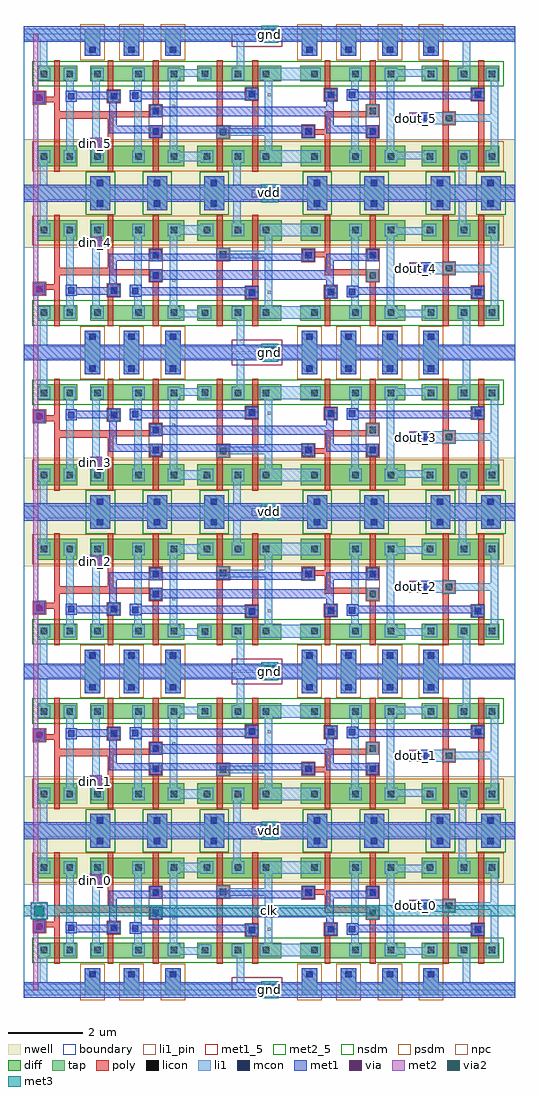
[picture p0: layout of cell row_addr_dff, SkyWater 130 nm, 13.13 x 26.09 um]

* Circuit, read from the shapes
.subckt row_addr_dff clk din_0 din_1 din_2 din_3 din_4 din_5 dout_0 dout_1 dout_2 dout_3 dout_4 dout_5 gnd vdd
XM1 dff_0/clkb clk gnd gnd sky130_fd_pr__nfet_01v8 w=0.42 l=0.15
XM2 dff_1/clkb clk gnd gnd sky130_fd_pr__nfet_01v8 w=0.42 l=0.15
XM3 dff_2/clkb clk gnd gnd sky130_fd_pr__nfet_01v8 w=0.42 l=0.15
XM4 dff_3/clkb clk gnd gnd sky130_fd_pr__nfet_01v8 w=0.42 l=0.15
XM5 dff_4/clkb clk gnd gnd sky130_fd_pr__nfet_01v8 w=0.42 l=0.15
XM6 dff_5/clkb clk gnd gnd sky130_fd_pr__nfet_01v8 w=0.42 l=0.15
XM7 dff_0/net1 dff_0/clkb din_0 gnd sky130_fd_pr__nfet_01v8 w=0.42 l=0.15
XM8 dff_1/net1 dff_1/clkb din_1 gnd sky130_fd_pr__nfet_01v8 w=0.42 l=0.15
XM9 dff_2/net1 dff_2/clkb din_2 gnd sky130_fd_pr__nfet_01v8 w=0.42 l=0.15
XM10 dff_3/net1 dff_3/clkb din_3 gnd sky130_fd_pr__nfet_01v8 w=0.42 l=0.15
XM11 dff_4/net1 dff_4/clkb din_4 gnd sky130_fd_pr__nfet_01v8 w=0.42 l=0.15
XM12 dff_5/net1 dff_5/clkb din_5 gnd sky130_fd_pr__nfet_01v8 w=0.42 l=0.15
XM13 dff_0/net2 clk dff_0/net1 gnd sky130_fd_pr__nfet_01v8 w=0.42 l=0.15
XM14 dff_1/net2 clk dff_1/net1 gnd sky130_fd_pr__nfet_01v8 w=0.42 l=0.15
XM15 dff_2/net2 clk dff_2/net1 gnd sky130_fd_pr__nfet_01v8 w=0.42 l=0.15
XM16 dff_3/net2 clk dff_3/net1 gnd sky130_fd_pr__nfet_01v8 w=0.42 l=0.15
XM17 dff_4/net2 clk dff_4/net1 gnd sky130_fd_pr__nfet_01v8 w=0.42 l=0.15
XM18 dff_5/net2 clk dff_5/net1 gnd sky130_fd_pr__nfet_01v8 w=0.42 l=0.15
XM19 gnd dff_0/net3 dff_0/net2 gnd sky130_fd_pr__nfet_01v8 w=0.42 l=0.15
XM20 gnd dff_1/net3 dff_1/net2 gnd sky130_fd_pr__nfet_01v8 w=0.42 l=0.15
XM21 gnd dff_2/net3 dff_2/net2 gnd sky130_fd_pr__nfet_01v8 w=0.42 l=0.15
XM22 gnd dff_3/net3 dff_3/net2 gnd sky130_fd_pr__nfet_01v8 w=0.42 l=0.15
XM23 gnd dff_4/net3 dff_4/net2 gnd sky130_fd_pr__nfet_01v8 w=0.42 l=0.15
XM24 gnd dff_5/net3 dff_5/net2 gnd sky130_fd_pr__nfet_01v8 w=0.42 l=0.15
XM25 dff_0/net3 dff_0/net1 gnd gnd sky130_fd_pr__nfet_01v8 w=0.42 l=0.15
XM26 dff_1/net3 dff_1/net1 gnd gnd sky130_fd_pr__nfet_01v8 w=0.42 l=0.15
XM27 dff_2/net3 dff_2/net1 gnd gnd sky130_fd_pr__nfet_01v8 w=0.42 l=0.15
XM28 dff_3/net3 dff_3/net1 gnd gnd sky130_fd_pr__nfet_01v8 w=0.42 l=0.15
XM29 dff_4/net3 dff_4/net1 gnd gnd sky130_fd_pr__nfet_01v8 w=0.42 l=0.15
XM30 dff_5/net3 dff_5/net1 gnd gnd sky130_fd_pr__nfet_01v8 w=0.42 l=0.15
XM31 dff_0/net4 clk dff_0/net3 gnd sky130_fd_pr__nfet_01v8 w=0.42 l=0.15
XM32 dff_1/net4 clk dff_1/net3 gnd sky130_fd_pr__nfet_01v8 w=0.42 l=0.15
XM33 dff_2/net4 clk dff_2/net3 gnd sky130_fd_pr__nfet_01v8 w=0.42 l=0.15
XM34 dff_3/net4 clk dff_3/net3 gnd sky130_fd_pr__nfet_01v8 w=0.42 l=0.15
XM35 dff_4/net4 clk dff_4/net3 gnd sky130_fd_pr__nfet_01v8 w=0.42 l=0.15
XM36 dff_5/net4 clk dff_5/net3 gnd sky130_fd_pr__nfet_01v8 w=0.42 l=0.15
XM37 dff_0/net5 dff_0/clkb dff_0/net4 gnd sky130_fd_pr__nfet_01v8 w=0.42 l=0.15
XM38 dff_1/net5 dff_1/clkb dff_1/net4 gnd sky130_fd_pr__nfet_01v8 w=0.42 l=0.15
XM39 dff_2/net5 dff_2/clkb dff_2/net4 gnd sky130_fd_pr__nfet_01v8 w=0.42 l=0.15
XM40 dff_3/net5 dff_3/clkb dff_3/net4 gnd sky130_fd_pr__nfet_01v8 w=0.42 l=0.15
XM41 dff_4/net5 dff_4/clkb dff_4/net4 gnd sky130_fd_pr__nfet_01v8 w=0.42 l=0.15
XM42 dff_5/net5 dff_5/clkb dff_5/net4 gnd sky130_fd_pr__nfet_01v8 w=0.42 l=0.15
XM43 gnd dout_0 dff_0/net5 gnd sky130_fd_pr__nfet_01v8 w=0.42 l=0.15
XM44 gnd dout_1 dff_1/net5 gnd sky130_fd_pr__nfet_01v8 w=0.42 l=0.15
XM45 gnd dout_2 dff_2/net5 gnd sky130_fd_pr__nfet_01v8 w=0.42 l=0.15
XM46 gnd dout_3 dff_3/net5 gnd sky130_fd_pr__nfet_01v8 w=0.42 l=0.15
XM47 gnd dout_4 dff_4/net5 gnd sky130_fd_pr__nfet_01v8 w=0.42 l=0.15
XM48 gnd dout_5 dff_5/net5 gnd sky130_fd_pr__nfet_01v8 w=0.42 l=0.15
XM49 dout_0 dff_0/net4 gnd gnd sky130_fd_pr__nfet_01v8 w=0.42 l=0.15
XM50 dout_1 dff_1/net4 gnd gnd sky130_fd_pr__nfet_01v8 w=0.42 l=0.15
XM51 dout_2 dff_2/net4 gnd gnd sky130_fd_pr__nfet_01v8 w=0.42 l=0.15
XM52 dout_3 dff_3/net4 gnd gnd sky130_fd_pr__nfet_01v8 w=0.42 l=0.15
XM53 dout_4 dff_4/net4 gnd gnd sky130_fd_pr__nfet_01v8 w=0.42 l=0.15
XM54 dout_5 dff_5/net4 gnd gnd sky130_fd_pr__nfet_01v8 w=0.42 l=0.15
XM55 dff_0/clkb clk vdd vdd sky130_fd_pr__pfet_01v8 w=0.55 l=0.15
XM56 dff_1/clkb clk vdd vdd sky130_fd_pr__pfet_01v8 w=0.55 l=0.15
XM57 dff_2/clkb clk vdd vdd sky130_fd_pr__pfet_01v8 w=0.55 l=0.15
XM58 dff_3/clkb clk vdd vdd sky130_fd_pr__pfet_01v8 w=0.55 l=0.15
XM59 dff_4/clkb clk vdd vdd sky130_fd_pr__pfet_01v8 w=0.55 l=0.15
XM60 dff_5/clkb clk vdd vdd sky130_fd_pr__pfet_01v8 w=0.55 l=0.15
XM61 dff_0/net1 clk din_0 vdd sky130_fd_pr__pfet_01v8 w=0.55 l=0.15
XM62 dff_1/net1 clk din_1 vdd sky130_fd_pr__pfet_01v8 w=0.55 l=0.15
XM63 dff_2/net1 clk din_2 vdd sky130_fd_pr__pfet_01v8 w=0.55 l=0.15
XM64 dff_3/net1 clk din_3 vdd sky130_fd_pr__pfet_01v8 w=0.55 l=0.15
XM65 dff_4/net1 clk din_4 vdd sky130_fd_pr__pfet_01v8 w=0.55 l=0.15
XM66 dff_5/net1 clk din_5 vdd sky130_fd_pr__pfet_01v8 w=0.55 l=0.15
XM67 dff_0/net2 dff_0/clkb dff_0/net1 vdd sky130_fd_pr__pfet_01v8 w=0.55 l=0.15
XM68 dff_1/net2 dff_1/clkb dff_1/net1 vdd sky130_fd_pr__pfet_01v8 w=0.55 l=0.15
XM69 dff_2/net2 dff_2/clkb dff_2/net1 vdd sky130_fd_pr__pfet_01v8 w=0.55 l=0.15
XM70 dff_3/net2 dff_3/clkb dff_3/net1 vdd sky130_fd_pr__pfet_01v8 w=0.55 l=0.15
XM71 dff_4/net2 dff_4/clkb dff_4/net1 vdd sky130_fd_pr__pfet_01v8 w=0.55 l=0.15
XM72 dff_5/net2 dff_5/clkb dff_5/net1 vdd sky130_fd_pr__pfet_01v8 w=0.55 l=0.15
XM73 vdd dff_0/net3 dff_0/net2 vdd sky130_fd_pr__pfet_01v8 w=0.55 l=0.15
XM74 vdd dff_1/net3 dff_1/net2 vdd sky130_fd_pr__pfet_01v8 w=0.55 l=0.15
XM75 vdd dff_2/net3 dff_2/net2 vdd sky130_fd_pr__pfet_01v8 w=0.55 l=0.15
XM76 vdd dff_3/net3 dff_3/net2 vdd sky130_fd_pr__pfet_01v8 w=0.55 l=0.15
XM77 vdd dff_4/net3 dff_4/net2 vdd sky130_fd_pr__pfet_01v8 w=0.55 l=0.15
XM78 vdd dff_5/net3 dff_5/net2 vdd sky130_fd_pr__pfet_01v8 w=0.55 l=0.15
XM79 dff_0/net3 dff_0/net1 vdd vdd sky130_fd_pr__pfet_01v8 w=0.55 l=0.15
XM80 dff_1/net3 dff_1/net1 vdd vdd sky130_fd_pr__pfet_01v8 w=0.55 l=0.15
XM81 dff_2/net3 dff_2/net1 vdd vdd sky130_fd_pr__pfet_01v8 w=0.55 l=0.15
XM82 dff_3/net3 dff_3/net1 vdd vdd sky130_fd_pr__pfet_01v8 w=0.55 l=0.15
XM83 dff_4/net3 dff_4/net1 vdd vdd sky130_fd_pr__pfet_01v8 w=0.55 l=0.15
XM84 dff_5/net3 dff_5/net1 vdd vdd sky130_fd_pr__pfet_01v8 w=0.55 l=0.15
XM85 dff_0/net4 dff_0/clkb dff_0/net3 vdd sky130_fd_pr__pfet_01v8 w=0.55 l=0.15
XM86 dff_1/net4 dff_1/clkb dff_1/net3 vdd sky130_fd_pr__pfet_01v8 w=0.55 l=0.15
XM87 dff_2/net4 dff_2/clkb dff_2/net3 vdd sky130_fd_pr__pfet_01v8 w=0.55 l=0.15
XM88 dff_3/net4 dff_3/clkb dff_3/net3 vdd sky130_fd_pr__pfet_01v8 w=0.55 l=0.15
XM89 dff_4/net4 dff_4/clkb dff_4/net3 vdd sky130_fd_pr__pfet_01v8 w=0.55 l=0.15
XM90 dff_5/net4 dff_5/clkb dff_5/net3 vdd sky130_fd_pr__pfet_01v8 w=0.55 l=0.15
XM91 dff_0/net5 clk dff_0/net4 vdd sky130_fd_pr__pfet_01v8 w=0.55 l=0.15
XM92 dff_1/net5 clk dff_1/net4 vdd sky130_fd_pr__pfet_01v8 w=0.55 l=0.15
XM93 dff_2/net5 clk dff_2/net4 vdd sky130_fd_pr__pfet_01v8 w=0.55 l=0.15
XM94 dff_3/net5 clk dff_3/net4 vdd sky130_fd_pr__pfet_01v8 w=0.55 l=0.15
XM95 dff_4/net5 clk dff_4/net4 vdd sky130_fd_pr__pfet_01v8 w=0.55 l=0.15
XM96 dff_5/net5 clk dff_5/net4 vdd sky130_fd_pr__pfet_01v8 w=0.55 l=0.15
XM97 vdd dout_0 dff_0/net5 vdd sky130_fd_pr__pfet_01v8 w=0.55 l=0.15
XM98 vdd dout_1 dff_1/net5 vdd sky130_fd_pr__pfet_01v8 w=0.55 l=0.15
XM99 vdd dout_2 dff_2/net5 vdd sky130_fd_pr__pfet_01v8 w=0.55 l=0.15
XM100 vdd dout_3 dff_3/net5 vdd sky130_fd_pr__pfet_01v8 w=0.55 l=0.15
XM101 vdd dout_4 dff_4/net5 vdd sky130_fd_pr__pfet_01v8 w=0.55 l=0.15
XM102 vdd dout_5 dff_5/net5 vdd sky130_fd_pr__pfet_01v8 w=0.55 l=0.15
XM103 dout_0 dff_0/net4 vdd vdd sky130_fd_pr__pfet_01v8 w=0.55 l=0.15
XM104 dout_1 dff_1/net4 vdd vdd sky130_fd_pr__pfet_01v8 w=0.55 l=0.15
XM105 dout_2 dff_2/net4 vdd vdd sky130_fd_pr__pfet_01v8 w=0.55 l=0.15
XM106 dout_3 dff_3/net4 vdd vdd sky130_fd_pr__pfet_01v8 w=0.55 l=0.15
XM107 dout_4 dff_4/net4 vdd vdd sky130_fd_pr__pfet_01v8 w=0.55 l=0.15
XM108 dout_5 dff_5/net4 vdd vdd sky130_fd_pr__pfet_01v8 w=0.55 l=0.15
.ends

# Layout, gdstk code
import gdstk
lib = gdstk.Library(unit=1e-6, precision=1e-09)
def R(c, l, rs):  # rectangles x0, y0, x1, y1
    for r in rs: c.add(gdstk.rectangle(r[:2], r[2:], *l))
def A(c, l, x, y, w, h, nx, ny, dx, dy):  # array of equal rectangles
    R(c, l, [(x+i*dx, y+j*dy, x+i*dx+w, y+j*dy+h) for i in range(nx) for j in range(ny)])
nwell = (64, 20)
diff = (65, 20)
tap = (65, 44)
poly = (66, 20)
licon = (66, 44)
li1_pin = (67, 16)
li1 = (67, 20)
mcon = (67, 44)
met1_5 = (68, 5)
met1 = (68, 20)
via = (68, 44)
met2_5 = (69, 5)
met2 = (69, 20)
via2 = (69, 44)
met3 = (70, 20)
nsdm = (93, 44)
psdm = (94, 20)
npc = (95, 20)
boundary = (235, 4)

dff = lib.new_cell('dff')
R(dff, nwell, [(0,2.81,13.13,4.61)])
R(dff, diff, [(0.35,0.85,1.42,1.27), (1.78,0.85,4.28,1.27), (4.63,0.85,6.88,1.27), (7.39,0.85,10.19,1.27), (10.64,0.85,12.7,1.27), (0.35,2.99,1.42,3.54), (1.78,2.99,4.28,3.54), (4.63,2.99,6.89,3.54), (7.4,2.99,10.19,3.54), (10.64,2.99,12.7,3.54)])
A(dff, tap, 1.78, 3.81, 0.53, 0.62, 3, 1, 1.52, 0)
R(dff, tap, [(1.63,-0.14,2.04,0.58), (2.67,-0.14,3.08,0.58), (3.78,-0.14,4.19,0.58), (7.43,-0.14,7.84,0.58), (8.47,-0.14,8.88,0.58), (9.58,-0.14,9.99,0.58), (10.68,-0.14,11.09,0.58), (7.58,3.81,8.11,4.43), (9.1,3.81,9.63,4.43), (10.87,3.81,11.4,4.43), (12.22,3.81,12.75,4.43)])
R(dff, poly, [(0.81,0.7,0.96,1.68), (2.24,0.7,2.39,1.5), (3.45,0.7,3.6,1.9), (5.16,0.7,5.31,2.46), (6.11,0.7,6.26,1.44), (8.04,0.7,8.19,1.46), (9.25,0.7,9.4,1.9), (11.2,0.7,11.35,2.09), (12.15,0.7,12.3,1.45), (5.93,1.44,6.26,1.77), (11.97,1.45,12.3,1.78), (8.04,1.46,8.37,1.79), (2.24,1.5,2.57,1.83), (0.25,1.54,0.58,1.68), (0.25,1.68,0.96,1.83), (6.11,1.77,6.26,3.69), (12.15,1.78,12.3,3.69), (0.25,1.83,0.58,1.87), (0.81,1.83,0.96,2.07), (3.36,1.9,3.69,2.07), (9.16,1.9,9.49,2.07), (0.81,2.07,3.69,2.23), (8.04,2.07,9.49,2.23), (11.2,2.09,11.53,2.42), (0.81,2.23,2.39,2.27), (8.04,2.23,8.19,2.55), (0.81,2.27,0.96,3.69), (2.24,2.27,2.39,3.69), (11.2,2.42,11.35,3.69), (3.36,2.44,3.69,2.77), (7.44,2.44,7.77,2.55), (9.16,2.44,9.49,2.77), (5.16,2.46,5.49,2.79), (7.44,2.55,8.19,2.7), (7.44,2.7,7.77,2.77), (8.04,2.7,8.19,3.69), (3.45,2.77,3.6,3.69), (9.25,2.77,9.4,3.69), (5.16,2.79,5.31,3.69)])
A(dff, licon, 1.95, 3.9, 0.17, 0.17, 3, 1, 1.52, 0)
R(dff, licon, [(1.75,0.34,1.92,0.51), (2.79,0.34,2.96,0.51), (3.9,0.34,4.07,0.51), (7.55,0.34,7.72,0.51), (8.59,0.34,8.76,0.51), (9.7,0.34,9.87,0.51), (10.8,0.34,10.97,0.51), (4.76,0.98,4.93,1.15), (0.45,0.99,0.62,1.16), (1.14,0.99,1.31,1.16), (1.88,0.99,2.05,1.16), (2.98,0.99,3.15,1.16), (3.93,0.99,4.1,1.16), (5.64,0.99,5.81,1.16), (6.39,0.99,6.56,1.16), (7.68,0.99,7.85,1.16), (8.78,0.99,8.95,1.16), (9.73,0.99,9.9,1.16), (10.8,0.99,10.97,1.16), (11.68,0.99,11.85,1.16), (12.43,0.99,12.6,1.16), (6.01,1.52,6.18,1.69), (12.05,1.53,12.22,1.7), (8.12,1.54,8.29,1.71), (2.32,1.58,2.49,1.75), (0.33,1.62,0.5,1.79), (3.44,1.98,3.61,2.15), (9.24,1.98,9.41,2.15), (11.28,2.17,11.45,2.34), (3.44,2.52,3.61,2.69), (7.52,2.52,7.69,2.69), (9.24,2.52,9.41,2.69), (5.24,2.54,5.41,2.71), (0.45,3.19,0.62,3.36), (1.14,3.19,1.31,3.36), (1.88,3.19,2.05,3.36), (2.98,3.19,3.15,3.36), (3.93,3.19,4.1,3.36), (4.81,3.19,4.98,3.36), (5.64,3.19,5.81,3.36), (6.39,3.19,6.56,3.36), (7.68,3.19,7.85,3.36), (8.78,3.19,8.95,3.36), (9.73,3.19,9.9,3.36), (10.77,3.19,10.94,3.36), (11.68,3.19,11.85,3.36), (12.43,3.19,12.6,3.36), (7.75,3.9,7.92,4.07), (9.27,3.9,9.44,4.07), (11.04,3.9,11.21,4.07), (12.39,3.9,12.56,4.07)])
R(dff, li1_pin, [(8.74,1.57,8.82,1.64), (6.52,1.58,6.6,1.66), (2.34,1.59,2.45,1.72), (2.92,1.6,3,1.67), (3.96,1.9,4.04,1.98), (9.75,3.2,9.85,3.32)])
A(dff, li1, 1.78, 3.81, 0.53, 0.29, 3, 1, 1.52, 0)
R(dff, li1, [(0,-0.14,13.13,0.17), (0.43,0.17,0.63,0.91), (1.63,0.17,2.04,0.58), (2.67,0.17,3.08,0.58), (3.78,0.17,4.19,0.58), (5.69,0.17,5.89,0.91), (7.43,0.17,7.84,0.58), (8.47,0.17,8.88,0.58), (9.58,0.17,9.99,0.58), (10.68,0.17,11.09,0.58), (11.73,0.17,11.93,0.91), (4.68,0.9,5.01,0.95), (6.31,0.9,7.93,1.24), (0.37,0.91,0.7,1.24), (1.06,0.91,1.39,1.24), (1.8,0.91,2.13,1.24), (2.9,0.91,3.23,1.24), (3.85,0.91,4.18,0.95), (5.56,0.91,5.89,1.24), (8.7,0.91,9.03,1.24), (9.65,0.91,9.98,0.95), (10.72,0.91,11.05,0.95), (11.6,0.91,11.93,1.24), (12.35,0.91,12.68,1.24), (3.85,0.95,5.01,1.15), (9.65,0.95,11.05,1.15), (3.85,1.15,4.18,1.24), (4.68,1.15,5.01,1.23), (9.65,1.15,9.98,1.24), (10.72,1.15,11.05,1.24), (1.13,1.24,1.33,1.52), (1.83,1.24,2.03,2.8), (2.95,1.24,3.15,1.5), (3.9,1.24,4.1,3.11), (6.44,1.24,6.64,2.52), (8.75,1.24,8.95,1.48), (9.7,1.24,9.9,3.11), (12.48,1.24,12.68,2.15), (5.93,1.44,6.26,1.77), (11.97,1.45,12.3,1.78), (8.04,1.46,8.37,1.79), (8.63,1.48,8.95,1.79), (2.24,1.5,2.57,1.83), (2.83,1.5,3.15,1.81), (1.12,1.52,1.41,1.81), (0.25,1.54,0.58,1.87), (8.75,1.79,8.95,3.11), (1.13,1.81,1.33,3.11), (2.95,1.81,3.15,3.11), (3.36,1.9,3.69,2.23), (9.16,1.9,9.49,2.23), (11.2,2.09,11.53,2.1), (10.62,2.1,11.53,2.15), (10.62,2.15,12.68,2.35), (10.62,2.35,11.53,2.42), (12.48,2.35,12.68,3.11), (3.36,2.44,3.69,2.77), (7.44,2.44,7.77,2.77), (9.16,2.44,9.49,2.77), (5.16,2.46,5.49,2.52), (5.16,2.52,6.64,2.72), (5.16,2.72,5.49,2.79), (6.44,2.72,6.64,3.11), (1.75,2.8,2.03,3.08), (1.8,3.08,2.03,3.11), (0.37,3.11,0.7,3.44), (1.06,3.11,1.39,3.44), (1.8,3.11,2.13,3.44), (2.9,3.11,3.23,3.44), (3.85,3.11,4.18,3.15), (4.73,3.11,5.06,3.15), (5.56,3.11,5.89,3.44), (6.31,3.11,7.93,3.44), (8.7,3.11,9.03,3.44), (9.65,3.11,9.98,3.15), (10.69,3.11,11.02,3.15), (11.6,3.11,11.93,3.44), (12.35,3.11,12.68,3.44), (3.85,3.15,5.06,3.4), (9.65,3.15,11.02,3.35), (9.65,3.35,9.98,3.44), (10.69,3.35,11.02,3.44), (3.85,3.4,4.18,3.44), (4.73,3.4,5.06,3.44), (0.43,3.44,0.63,4.1), (5.59,3.44,5.79,4.1), (11.63,3.44,11.83,4.1), (7.58,3.81,8.11,4.1), (9.1,3.81,9.63,4.1), (10.87,3.81,11.4,4.1), (12.22,3.81,12.75,4.1), (0,4.1,13.13,4.43)])
A(dff, mcon, 1.95, 3.9, 0.17, 0.17, 3, 1, 1.52, 0)
R(dff, mcon, [(1.75,0.34,1.92,0.51), (2.79,0.34,2.96,0.51), (3.9,0.34,4.07,0.51), (7.55,0.34,7.72,0.51), (8.59,0.34,8.76,0.51), (9.7,0.34,9.87,0.51), (10.8,0.34,10.97,0.51), (6.01,1.52,6.18,1.69), (12.05,1.53,12.22,1.7), (8.12,1.54,8.29,1.71), (8.69,1.54,8.86,1.71), (2.89,1.56,3.06,1.73), (1.18,1.58,1.35,1.75), (2.32,1.58,2.49,1.75), (0.33,1.61,0.5,1.78), (3.44,1.98,3.61,2.15), (10.69,2.17,10.86,2.34), (3.44,2.52,3.61,2.69), (7.52,2.52,7.69,2.69), (9.24,2.52,9.41,2.69), (1.8,2.85,1.97,3.02), (7.75,3.9,7.92,4.07), (9.27,3.9,9.44,4.07), (11.04,3.9,11.21,4.07), (12.39,3.9,12.56,4.07)])
R(dff, met1_5, [(5.56,0.01,6.91,0.34), (6.09,4.16,6.48,4.36)])
A(dff, met1, 1.78, 3.81, 0.53, 0.23, 3, 1, 1.52, 0)
R(dff, met1, [(0,-0.2,13.13,0.21), (0,-0.2,13.13,0.21), (1.63,0.21,2.04,0.58), (2.67,0.21,3.08,0.58), (3.78,0.21,4.19,0.58), (7.43,0.21,7.84,0.58), (8.47,0.21,8.88,0.58), (9.58,0.21,9.99,0.58), (10.68,0.21,11.09,0.58), (5.93,1.44,6.26,1.54), (11.96,1.45,12.3,1.55), (8.04,1.46,8.37,1.79), (8.63,1.48,8.93,1.55), (2.24,1.5,2.57,1.55), (2.83,1.5,3.13,1.54), (1.12,1.52,1.41,1.55), (0.25,1.54,0.56,1.86), (2.83,1.54,6.26,1.75), (1.12,1.55,2.57,1.75), (8.63,1.55,12.3,1.75), (1.12,1.75,1.41,1.81), (2.24,1.75,2.57,1.83), (2.83,1.75,3.13,1.81), (5.93,1.75,6.26,1.77), (8.63,1.75,8.93,1.79), (11.96,1.75,12.3,1.78), (8.08,1.79,8.28,1.95), (2.28,1.83,2.48,2.45), (3.36,1.9,3.69,1.95), (3.36,1.95,8.28,2.2), (10.3,2.1,10.93,2.42), (3.36,2.2,3.69,2.23), (8.08,2.2,8.28,2.45), (3.36,2.44,3.69,2.45), (7.44,2.44,7.77,2.45), (9.16,2.44,9.49,2.45), (2.28,2.45,7.77,2.65), (8.08,2.45,9.49,2.65), (3.36,2.65,3.69,2.77), (7.44,2.65,7.77,2.77), (9.16,2.65,9.49,2.77), (1.74,2.78,2.08,3.1), (7.58,3.81,8.11,4.04), (9.1,3.81,9.63,4.04), (10.87,3.81,11.4,4.04), (12.22,3.81,12.75,4.04), (0,4.04,13.13,4.49), (0,4.04,13.13,4.49)])
R(dff, via, [(0.325,1.625,0.475,1.775), (10.385,2.185,10.535,2.335), (1.835,2.865,1.985,3.015)])
R(dff, met2_5, [(0.27,1.57,0.53,1.83), (10.33,2.13,10.59,2.39), (1.78,2.81,2.04,3.07)])
R(dff, met2, [(0.25,1.54,0.56,1.86), (0.25,1.54,0.56,1.86), (10.3,2.1,10.62,2.42), (10.3,2.1,10.62,2.42), (1.74,2.78,2.08,3.1), (1.74,2.78,2.08,3.1)])
A(dff, nsdm, 1.655, 3.685, 0.78, 0.87, 3, 1, 1.52, 0)
R(dff, nsdm, [(0.225,0.725,12.825,1.395), (7.455,3.685,8.235,4.555), (8.975,3.685,9.755,4.555), (10.745,3.685,11.525,4.555), (12.095,3.685,12.875,4.555)])
R(dff, psdm, [(1.505,-0.265,2.165,0.705), (2.545,-0.265,3.205,0.705), (3.655,-0.265,4.315,0.705), (7.305,-0.265,7.965,0.705), (8.345,-0.265,9.005,0.705), (9.455,-0.265,10.115,0.705), (10.555,-0.265,11.215,0.705), (0.225,2.865,12.825,3.665)])
R(dff, npc, [(5.91,1.42,6.28,1.79), (11.95,1.43,12.32,1.8), (8.02,1.44,8.39,1.81), (2.22,1.48,2.59,1.85), (0.23,1.52,0.6,1.89), (3.34,1.88,3.71,2.79), (9.14,1.88,9.51,2.79), (11.18,2.07,11.55,2.44), (7.42,2.42,7.79,2.79), (5.14,2.44,5.51,2.81)])
R(dff, boundary, [(0,0,13.13,4.26)])
dff.add(gdstk.Label('net5', (9.8,3.26), layer=67, texttype=16))
dff.add(gdstk.Label('net2', (4,1.94), layer=67, texttype=16))
dff.add(gdstk.Label('net3', (6.56,1.62), layer=67, texttype=16))
dff.add(gdstk.Label('clkb', (2.395,1.655), layer=67, texttype=16))
dff.add(gdstk.Label('net1', (2.96,1.635), layer=67, texttype=16))
dff.add(gdstk.Label('net4', (8.78,1.605), layer=67, texttype=16))
dff.add(gdstk.Label('vdd', (6.285,4.26), layer=68, texttype=5))
dff.add(gdstk.Label('gnd', (6.235,0.175), layer=68, texttype=5))
dff.add(gdstk.Label('D', (1.91,2.94), layer=69, texttype=5))
dff.add(gdstk.Label('Q', (10.46,2.26), layer=69, texttype=5))
dff.add(gdstk.Label('clk', (0.4,1.7), layer=69, texttype=5))
dff.add(gdstk.Label('D', (1.91,2.94), layer=69, texttype=20))
dff.add(gdstk.Label('Q', (10.46,2.26), layer=69, texttype=20))
dff.add(gdstk.Label('clk', (0.405,1.7), layer=69, texttype=20))
dff.add(gdstk.Label('vdd', (6.565,4.265), layer=68, texttype=20))
dff.add(gdstk.Label('gnd', (6.565,0.005), layer=68, texttype=20))

contact_6 = lib.new_cell('contact_6')
R(contact_6, met1, [(0,0,0.46,0.46)])
R(contact_6, via, [(0.1,0.1,0.36,0.36)])
R(contact_6, met2, [(0,0,0.46,0.46)])
R(contact_6, boundary, [(0,0,0.46,0.46)])

contact_7 = lib.new_cell('contact_7')
R(contact_7, met2, [(0,0,0.46,0.46)])
R(contact_7, via2, [(0.09,0.09,0.37,0.37)])
R(contact_7, met3, [(0.01,0.01,0.45,0.45)])
R(contact_7, boundary, [(0,0,0.46,0.46)])

row_addr_dff = lib.new_cell('row_addr_dff')
R(row_addr_dff, met2, [(0.25,0,0.39,25.56), (10.3,2.1,10.62,2.42), (1.74,2.78,2.08,3.1), (1.74,5.42,2.08,5.74), (10.3,6.1,10.62,6.42), (10.3,10.62,10.62,10.94), (1.74,11.3,2.08,11.62), (1.74,13.94,2.08,14.26), (10.3,14.62,10.62,14.94), (10.3,19.14,10.62,19.46), (1.74,19.82,2.08,20.14), (1.74,22.46,2.08,22.78), (10.3,23.14,10.62,23.46)])
R(row_addr_dff, met3, [(6.34,-0.22,6.8,0.24), (0,1.97,13.13,2.27), (6.34,4.02,6.8,4.48), (6.34,4.04,6.8,4.5), (6.34,8.28,6.8,8.74), (6.34,8.3,6.8,8.76), (6.34,12.54,6.8,13), (6.34,12.56,6.8,13.02), (6.34,16.8,6.8,17.26), (6.34,16.82,6.8,17.28), (6.34,21.06,6.8,21.52), (6.34,21.08,6.8,21.54), (6.34,25.32,6.8,25.78)])
R(row_addr_dff, boundary, [(0,0,13.13,25.56)])
row_addr_dff.add(gdstk.Reference(dff, (0,0)))
row_addr_dff.add(gdstk.Reference(dff, (0,8.52), x_reflection=True))
row_addr_dff.add(gdstk.Reference(dff, (0,8.52)))
row_addr_dff.add(gdstk.Reference(dff, (0,17.04), x_reflection=True))
row_addr_dff.add(gdstk.Reference(dff, (0,17.04)))
row_addr_dff.add(gdstk.Reference(dff, (0,25.56), x_reflection=True))
row_addr_dff.add(gdstk.Reference(contact_6, (6.34,4.04)))
row_addr_dff.add(gdstk.Reference(contact_7, (6.34,4.04)))
row_addr_dff.add(gdstk.Reference(contact_6, (6.34,-0.22)))
row_addr_dff.add(gdstk.Reference(contact_7, (6.34,-0.22)))
row_addr_dff.add(gdstk.Reference(contact_6, (6.34,4.02)))
row_addr_dff.add(gdstk.Reference(contact_7, (6.34,4.02)))
row_addr_dff.add(gdstk.Reference(contact_6, (6.34,8.28)))
row_addr_dff.add(gdstk.Reference(contact_7, (6.34,8.28)))
row_addr_dff.add(gdstk.Reference(contact_6, (6.34,12.56)))
row_addr_dff.add(gdstk.Reference(contact_7, (6.34,12.56)))
row_addr_dff.add(gdstk.Reference(contact_6, (6.34,8.3)))
row_addr_dff.add(gdstk.Reference(contact_7, (6.34,8.3)))
row_addr_dff.add(gdstk.Reference(contact_6, (6.34,12.54)))
row_addr_dff.add(gdstk.Reference(contact_7, (6.34,12.54)))
row_addr_dff.add(gdstk.Reference(contact_6, (6.34,16.8)))
row_addr_dff.add(gdstk.Reference(contact_7, (6.34,16.8)))
row_addr_dff.add(gdstk.Reference(contact_6, (6.34,21.08)))
row_addr_dff.add(gdstk.Reference(contact_7, (6.34,21.08)))
row_addr_dff.add(gdstk.Reference(contact_6, (6.34,16.82)))
row_addr_dff.add(gdstk.Reference(contact_7, (6.34,16.82)))
row_addr_dff.add(gdstk.Reference(contact_6, (6.34,21.06)))
row_addr_dff.add(gdstk.Reference(contact_7, (6.34,21.06)))
row_addr_dff.add(gdstk.Reference(contact_6, (6.34,25.32)))
row_addr_dff.add(gdstk.Reference(contact_7, (6.34,25.32)))
row_addr_dff.add(gdstk.Reference(contact_7, (0.18,1.89)))
row_addr_dff.add(gdstk.Label('vdd', (6.57,21.31), layer=70, texttype=20))
row_addr_dff.add(gdstk.Label('vdd', (6.57,12.79), layer=70, texttype=20))
row_addr_dff.add(gdstk.Label('vdd', (6.57,4.27), layer=70, texttype=20))
row_addr_dff.add(gdstk.Label('vdd', (6.57,4.25), layer=70, texttype=20))
row_addr_dff.add(gdstk.Label('vdd', (6.57,21.29), layer=70, texttype=20))
row_addr_dff.add(gdstk.Label('vdd', (6.57,12.77), layer=70, texttype=20))
row_addr_dff.add(gdstk.Label('gnd', (6.57,8.51), layer=70, texttype=20))
row_addr_dff.add(gdstk.Label('gnd', (6.57,17.05), layer=70, texttype=20))
row_addr_dff.add(gdstk.Label('gnd', (6.57,25.55), layer=70, texttype=20))
row_addr_dff.add(gdstk.Label('gnd', (6.57,8.53), layer=70, texttype=20))
row_addr_dff.add(gdstk.Label('gnd', (6.57,17.03), layer=70, texttype=20))
row_addr_dff.add(gdstk.Label('gnd', (6.57,0.01), layer=70, texttype=20))
row_addr_dff.add(gdstk.Label('din_0', (1.91,2.94), layer=69, texttype=20))
row_addr_dff.add(gdstk.Label('dout_0', (10.46,2.26), layer=69, texttype=20))
row_addr_dff.add(gdstk.Label('din_1', (1.91,5.58), layer=69, texttype=20))
row_addr_dff.add(gdstk.Label('dout_1', (10.46,6.26), layer=69, texttype=20))
row_addr_dff.add(gdstk.Label('din_2', (1.91,11.46), layer=69, texttype=20))
row_addr_dff.add(gdstk.Label('dout_2', (10.46,10.78), layer=69, texttype=20))
row_addr_dff.add(gdstk.Label('din_3', (1.91,14.1), layer=69, texttype=20))
row_addr_dff.add(gdstk.Label('dout_3', (10.46,14.78), layer=69, texttype=20))
row_addr_dff.add(gdstk.Label('din_4', (1.91,19.98), layer=69, texttype=20))
row_addr_dff.add(gdstk.Label('dout_4', (10.46,19.3), layer=69, texttype=20))
row_addr_dff.add(gdstk.Label('din_5', (1.91,22.62), layer=69, texttype=20))
row_addr_dff.add(gdstk.Label('dout_5', (10.46,23.3), layer=69, texttype=20))
row_addr_dff.add(gdstk.Label('clk', (6.565,2.12), layer=70, texttype=20))

lib.write_gds('row_addr_dff.gds')
